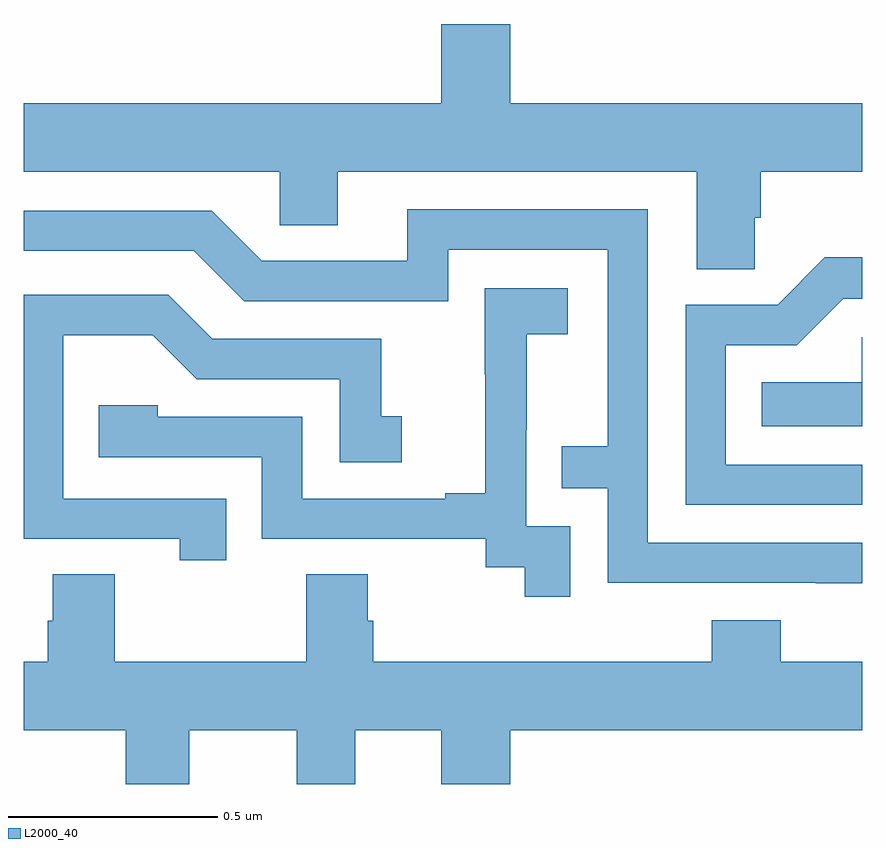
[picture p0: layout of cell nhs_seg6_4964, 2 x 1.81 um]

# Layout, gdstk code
import gdstk
lib = gdstk.Library(unit=1e-6, precision=1e-09)
def P(c, l, *ps):  # polygons
    for p in ps: c.add(gdstk.Polygon(p, *l))
L2000_40 = (2000, 40)

nhs_seg6_4964 = lib.new_cell('nhs_seg6_4964')
P(nhs_seg6_4964, L2000_40, [(177.744,989.851),(177.758,989.851),(177.758,989.96),(178,989.96),(178,990.124),(177.16,990.124),(177.16,990.313),(176.996,990.313),(176.996,990.124),(176,990.124),(176,989.96),(176.61,989.96),(176.61,989.833),(176.749,989.833),(176.749,989.96),(177.605,989.96),(177.605,989.728),(177.744,989.728)],
  [(178,989.076),(177.489,989.076),(177.489,989.871),(176.915,989.871),(176.915,989.748),(176.568,989.748),(176.448,989.868),(176,989.868),(176,989.772),(176.406,989.772),(176.526,989.652),(177.012,989.652),(177.012,989.775),(177.393,989.775),(177.393,989.306),(177.283,989.306),(177.283,989.205),(177.393,989.205),(177.393,988.98),(177.889,988.98),(177.889,988.979),(178,988.979)],
  [(178,989.262),(177.675,989.262),(177.675,989.547),(177.844,989.547),(177.955,989.658),(178,989.658),(178,989.756),(177.911,989.756),(177.798,989.643),(177.579,989.643),(177.579,989.166),(178,989.166)],
  [(177.303,989.115),(177.198,989.115),(177.198,989.345),(177.2,989.345),(177.2,989.573),(177.298,989.573),(177.298,989.683),(177.1,989.683),(177.1,989.477),(177.101,989.477),(177.101,989.194),(177.005,989.194),(177.005,989.181),(176.664,989.181),(176.664,989.376),(176.319,989.376),(176.319,989.403),(176.179,989.403),(176.179,989.28),(176.568,989.28),(176.568,989.085),(177.102,989.085),(177.102,989.017),(177.195,989.017),(177.195,988.947),(177.303,988.947)],
  [(176.483,989.181),(176.094,989.181),(176.094,989.57),(176.308,989.57),(176.412,989.466),(176.754,989.466),(176.754,989.268),(176.902,989.268),(176.902,989.377),(176.853,989.377),(176.853,989.562),(176.449,989.562),(176.344,989.667),(176,989.667),(176,989.085),(176.372,989.085),(176.372,989.034),(176.483,989.034)],
  [(178,989.566),(177.999,989.566),(177.999,989.458),(177.76,989.458),(177.76,989.354),(178,989.354)],
  [(176.395,988.628),(176.651,988.628),(176.651,988.5),(176.791,988.5),(176.791,988.628),(176.996,988.628),(176.996,988.5),(177.16,988.5),(177.16,988.628),(178,988.628),(178,988.792),(177.806,988.792),(177.806,988.891),(177.641,988.891),(177.641,988.792),(176.834,988.792),(176.834,988.89),(176.821,988.89),(176.821,989),(176.674,989),(176.674,988.792),(176.217,988.792),(176.217,989),(176.069,989),(176.069,988.89),(176.057,988.89),(176.057,988.792),(176,988.792),(176,988.628),(176.243,988.628),(176.243,988.5),(176.395,988.5)])

lib.write_gds('nhs_seg6_4964.gds')
